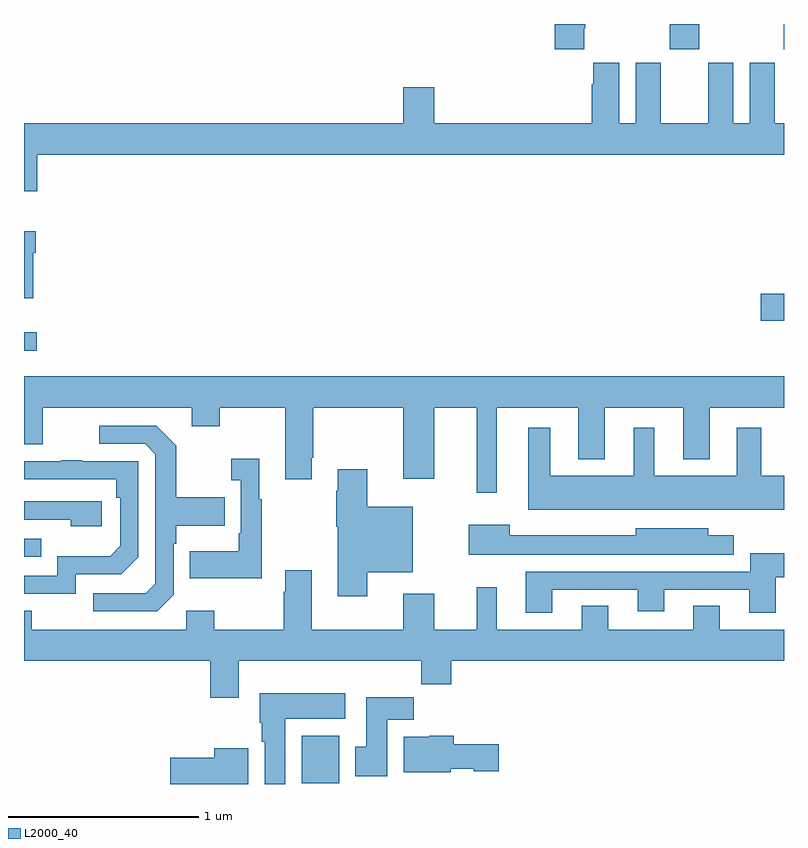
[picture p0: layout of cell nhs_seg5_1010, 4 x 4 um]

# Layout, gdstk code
import gdstk
lib = gdstk.Library(unit=1e-6, precision=1e-09)
def R(c, l, rs):  # rectangles x0, y0, x1, y1
    for r in rs: c.add(gdstk.rectangle(r[:2], r[2:], *l))
def P(c, l, *ps):  # polygons
    for p in ps: c.add(gdstk.Polygon(p, *l))
L2000_40 = (2000, 40)

nhs_seg5_1010 = lib.new_cell('nhs_seg5_1010')
R(nhs_seg5_1010, L2000_40, [(176.463,834.804,176.659,835.054), (175,835.995,175.091,836.091), (175,837.08,175.066,837.177), (178.878,837.238,179,837.38), (178.399,838.665,178.554,838.799), (178.999,838.665,179,838.799)])
P(nhs_seg5_1010, L2000_40, [(177.949,838.777),(177.954,838.777),(177.954,838.799),(177.794,838.799),(177.794,838.665),(177.949,838.665)],
  [(175.07,838.112),(179,838.112),(179,838.276),(178.951,838.276),(178.951,838.594),(178.82,838.594),(178.82,838.276),(178.732,838.276),(178.732,838.594),(178.601,838.594),(178.601,838.276),(178.351,838.276),(178.351,838.594),(178.22,838.594),(178.22,838.276),(178.132,838.276),(178.132,838.594),(177.995,838.594),(177.995,838.481),(177.989,838.481),(177.989,838.276),(177.16,838.276),(177.16,838.465),(176.996,838.465),(176.996,838.276),(175,838.276),(175,837.918),(175.07,837.918)],
  [(175.048,837.596),(175.061,837.596),(175.061,837.709),(175,837.709),(175,837.356),(175.048,837.356)],
  [(177.487,836.78),(177.917,836.78),(177.917,836.507),(178.057,836.507),(178.057,836.78),(178.469,836.78),(178.469,836.507),(178.609,836.507),(178.609,836.78),(179,836.78),(179,836.944),(175,836.944),(175,836.586),(175.099,836.586),(175.099,836.78),(175.883,836.78),(175.883,836.681),(176.031,836.681),(176.031,836.78),(176.375,836.78),(176.375,836.403),(176.515,836.403),(176.515,836.515),(176.523,836.515),(176.523,836.78),(176.996,836.78),(176.996,836.406),(177.16,836.406),(177.16,836.78),(177.383,836.78),(177.383,836.331),(177.487,836.331)],
  [(175.788,835.794),(175.788,836.063),(175.801,836.063),(175.801,836.159),(176.057,836.159),(176.057,836.307),(175.801,836.307),(175.801,836.579),(175.695,836.685),(175.395,836.685),(175.395,836.589),(175.638,836.589),(175.692,836.535),(175.692,835.854),(175.641,835.803),(175.365,835.803),(175.365,835.707),(175.701,835.707)],
  [(179,836.422),(178.879,836.422),(178.879,836.674),(178.751,836.674),(178.751,836.422),(178.318,836.422),(178.318,836.674),(178.208,836.674),(178.208,836.422),(177.769,836.422),(177.769,836.674),(177.653,836.674),(177.653,836.243),(179,836.243)],
  [(176.251,836.299),(176.239,836.299),(176.239,836.512),(176.091,836.512),(176.091,836.399),(176.142,836.399),(176.142,836.119),(176.13,836.119),(176.13,836.023),(175.873,836.023),(175.873,835.883),(176.251,835.883)],
  [(175.272,835.902),(175.512,835.902),(175.602,835.992),(175.602,836.499),(175.307,836.499),(175.307,836.504),(175.195,836.504),(175.195,836.499),(175,836.499),(175,836.403),(175.486,836.403),(175.486,836.306),(175.506,836.306),(175.506,836.052),(175.453,835.999),(175.176,835.999),(175.176,835.896),(175,835.896),(175,835.8),(175.272,835.8)],
  [(176.806,835.913),(177.046,835.913),(177.046,836.257),(176.806,836.257),(176.806,836.455),(176.651,836.455),(176.651,836.342),(176.644,836.342),(176.644,836.153),(176.651,836.153),(176.651,835.788),(176.806,835.788)],
  [(175.408,836.286),(175,836.286),(175,836.19),(175.247,836.19),(175.247,836.156),(175.408,836.156)],
  [(178.735,836.107),(178.6,836.107),(178.6,836.146),(178.22,836.146),(178.22,836.107),(177.556,836.107),(177.556,836.164),(177.342,836.164),(177.342,836.006),(178.735,836.006)],
  [(177.781,835.821),(178.229,835.821),(178.229,835.709),(178.369,835.709),(178.369,835.821),(178.817,835.821),(178.817,835.701),(178.957,835.701),(178.957,835.886),(179,835.886),(179,836.014),(178.823,836.014),(178.823,835.917),(177.641,835.917),(177.641,835.701),(177.781,835.701)],
  [(176.131,835.448),(177.091,835.448),(177.091,835.324),(177.248,835.324),(177.248,835.448),(179,835.448),(179,835.612),(178.663,835.612),(178.663,835.736),(178.523,835.736),(178.523,835.612),(178.075,835.612),(178.075,835.736),(177.935,835.736),(177.935,835.612),(177.487,835.612),(177.487,835.834),(177.383,835.834),(177.383,835.612),(177.16,835.612),(177.16,835.801),(176.996,835.801),(176.996,835.612),(176.515,835.612),(176.515,835.924),(176.375,835.924),(176.375,835.811),(176.368,835.811),(176.368,835.612),(176.001,835.612),(176.001,835.711),(175.854,835.711),(175.854,835.612),(175.041,835.612),(175.041,835.711),(175,835.711),(175,835.448),(175.979,835.448),(175.979,835.254),(176.131,835.254)],
  [(176.374,835.142),(176.692,835.142),(176.692,835.276),(176.24,835.276),(176.24,835.122),(176.252,835.122),(176.252,835.022),(176.267,835.022),(176.267,834.799),(176.374,834.799)],
  [(176.911,835.136),(177.05,835.136),(177.05,835.255),(176.801,835.255),(176.801,834.996),(176.744,834.996),(176.744,834.84),(176.911,834.84)],
  [(177.246,834.878),(177.366,834.878),(177.366,834.866),(177.499,834.866),(177.499,835.008),(177.263,835.008),(177.263,835.054),(177.132,835.054),(177.132,835.048),(176.999,835.048),(176.999,834.86),(177.246,834.86)],
  [(176.179,834.988),(176,834.988),(176,834.938),(175.77,834.938),(175.77,834.799),(176.179,834.799)])

lib.write_gds('nhs_seg5_1010.gds')
